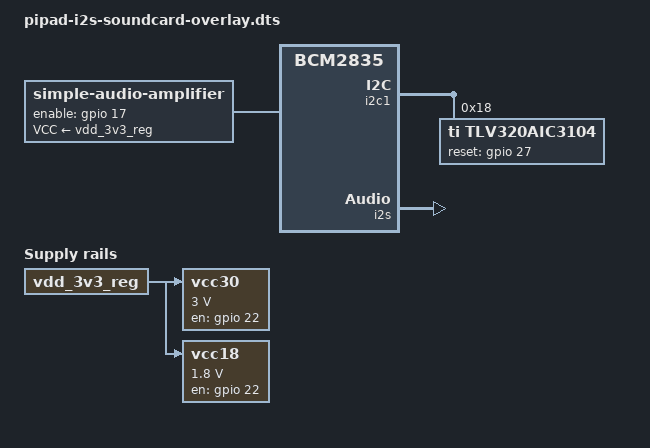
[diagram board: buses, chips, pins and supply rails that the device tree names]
/dts-v1/;
/plugin/;

/ {
    compatible = "brcm,bcm2835";
    fragment@0 {
        target = <&gpio>;
        __overlay__ {
            amp_enable: amp_enable {
                brcm,pins = <17>;
                brcm,function = <1>;
                brcm,pull = <1>;
            };
        };
    };

    fragment@1 {
        target-path = "/";
        __overlay__ {

            vcc30: fixedregulator@1 {
                regulator-boot-on;
                compatible = "regulator-fixed";
                regulator-name = "soundcard30";
                regulator-min-microvolt = <3000000>;
                regulator-max-microvolt = <3000000>;
                gpio = <&gpio 22 0>;
                startup-delay-us = <70000>;
                enable-active-high;
                vin-supply = <&vdd_3v3_reg>;
            };
            vcc18: fixedregulator@2 {
                regulator-boot-on;
                compatible = "regulator-fixed";
                regulator-name = "soundcard18";
                regulator-min-microvolt = <1800000>;
                regulator-max-microvolt = <1800000>;
                gpio = <&gpio 22 0>;
                startup-delay-us = <70000>;
                enable-active-high;
                vin-supply = <&vdd_3v3_reg>;
            };

            amp: analog-amplifier {
                compatible = "simple-audio-amplifier";
                enable-gpios = <&gpio 17 0>;
                VCC-supply = <&vdd_3v3_reg>;
            };
        };
    };

    fragment@2 {
        target = <&i2c1>;
        __overlay__ {
            #address-cells = <1>;
            #size-cells = <0>;

            tlv320aic3104: tlv320aic3104@24 {
                // #address-cells = <1>;
                // #size-cells = <0>;
                status = "okay";
                #sound-dai-cells = <0>;
                compatible = "ti,tlv320aic3104";
                reg = <0x18>;

                reset-gpios = <&gpio 27 0>;
                ai3x-ocmv = <0>;
                // AVDD-supply = <&vcc30>;
                // DRVDD-supply = <&vcc30>;
                // DVDD-supply = <&vcc18>;
                // IOVDD-supply = <&vdd_3v3_reg>;
            };
        };
    };

    fragment@3 {
        target = <&i2s>;
        __overlay__ {
            status = "okay";
        };
    };

    fragment@4 {
        target = <&sound>;
        __overlay__ {
            compatible = "simple-audio-card";
            i2s_controller = <&i2s>;
            status = "okay";
            simple-audio-card,name = "pipad";
            simple-audio-card,format = "i2s";

            simple-audio-card,bitclock-master = <&dailink0_master>;
            simple-audio-card,frame-master = <&dailink0_master>;

            simple-audio-card,widgets =
                "Microphone", "Microphone Jack",
                "Microphone", "Internal Microphone",
                "Headphone", "Headphone Jack",
                "Line", "Line Out",
                "Speaker", "Internal Speaker";
            simple-audio-card,routing =
                "Line Out", "HPLCOM",
                "Line Out", "HPRCOM",
                "Headphone Jack", "HPLOUT",
                "Headphone Jack", "HPROUT",
                "Microphone Jack", "MIC2L",
                "Internal Microphone", "LINE1L",
                "Internal Speaker", "LLOUT",
                "Internal Speaker", "RLOUT";

            simple-audio-card,aux-devs = <&amp>;
            dailink0_master: simple-audio-card,cpu {
                sound-dai = <&i2s>;
            };
            simple-audio-card,codec {
                sound-dai = <&tlv320aic3104>;
                system-clock-frequency = <12288000>;
            };
        };
    };
};
